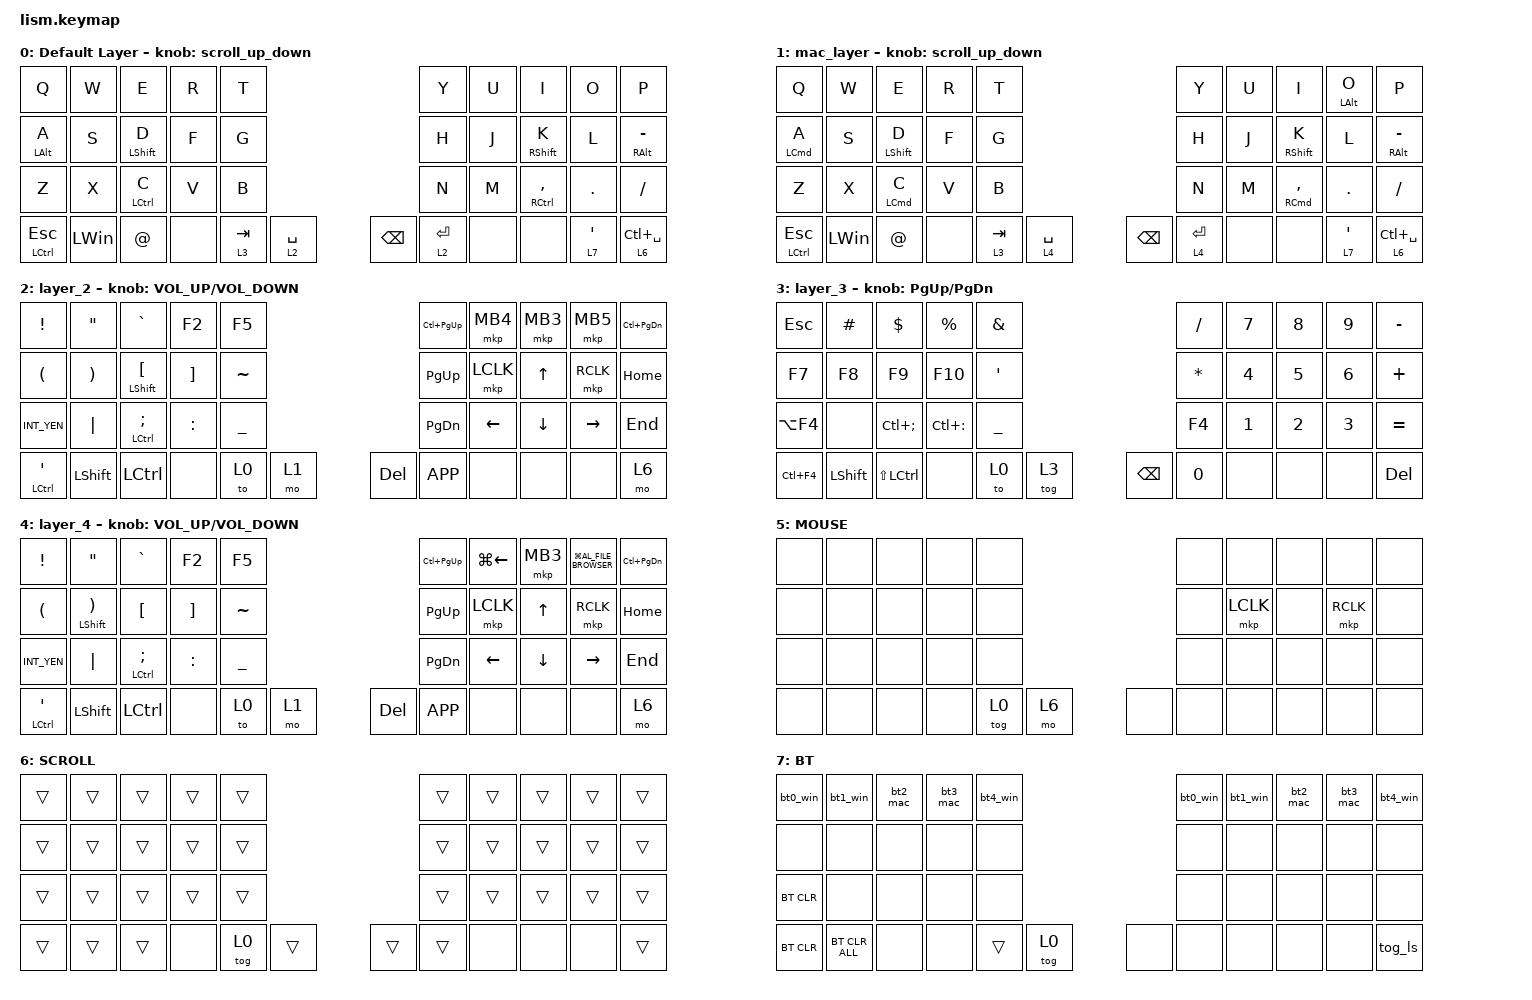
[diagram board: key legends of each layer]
#define ZMK_POINTING_DEFAULT_SCRL_VAL 100

#include <input/processors.dtsi>
#include <dt-bindings/zmk/mouse.h>
#include <behaviors.dtsi>
#include <dt-bindings/zmk/bt.h>
#include <dt-bindings/zmk/keys.h>
#include <dt-bindings/zmk/pointing.h>

#include <layout_shift_kp_override.dtsi>

#include <input/processors/sensor_rotation.dtsi>

#define MOUSE 5
#define SCROLL 6
#define BT 7

// OS設定を日本語キーボードのまま使用するための変換定義

#define JP_DQUOTE       AT                // "
#define JP_AMPERSAND    CARET             // &
#define JP_QUOTE        AMPERSAND         // '
#define JP_EQUAL        UNDER             // =
#define JP_CARET        EQUAL             // ^
#define JP_YEN          0x89              // ¥
#define JP_PLUS         COLON             // +
#define JP_TILDE        PLUS              // ~
#define JP_PIPE         LS(0x89)          // |
#define JP_AT           LEFT_BRACKET      // @
#define JP_COLON        SINGLE_QUOTE      // :
#define JP_ASTERISK     DOUBLE_QUOTES     // *
#define JP_BACKQUOTE    LEFT_BRACE        // `
#define JP_UNDERSCORE   LS(0x87)          // _
#define JP_LBRACKET     RIGHT_BRACKET     // [
#define JP_RBRACKET     BACKSLASH         // ]
#define JP_LPAREN       ASTERISK          // (
#define JP_RPAREN       LEFT_PARENTHESIS  // )
#define JP_LBRACE       RIGHT_BRACE       // {
#define JP_RBRACE       PIPE              // }
#define JP_KANA         LANGUAGE_1        // かな
#define JP_EISU         LANGUAGE_2        // 英数
#define JP_HANZEN       GRAVE             // 半角/全角

&mt {
    flavor = "balanced";
    quick-tap-ms = <0>;
};

&mkp_input_listener { input-processors = <&aml_threshold 5 10000>; };

&lt { quick-tap-ms = <300>; };

&sensor_rotation {
    rotation-angle = <0>;
};

/ {
    macros {
        emoji: emoji_macro {
            compatible = "zmk,behavior-macro";
            label = "EMOJI";
            #binding-cells = <0>;
            bindings =
                <&macro_press>,
                <&kp CAPSLOCK>,
                <&macro_tap>,
                <&kp E>,
                <&macro_release>,
                <&kp CAPSLOCK>;
        };

        to_layer_0: to_layer_0 {
            compatible = "zmk,behavior-macro-one-param";
            #binding-cells = <1>;
            bindings = <&to 0 &macro_param_1to1 &kp MACRO_PLACEHOLDER>;
            label = "TO_LAYER_0";
        };

        exit_AML: exit_AML {
            compatible = "zmk,behavior-macro";
            wait-ms = <0>;
            tap-ms = <0>;
            #binding-cells = <0>;
            bindings = <&tog_off MOUSE>;
            label = "exit_AML";
        };

        kp_exit_AML: kp_exit_AML {
            compatible = "zmk,behavior-macro-one-param";
            wait-ms = <0>;
            tap-ms = <0>;
            #binding-cells = <1>;
            bindings = <&macro_param_1to1 &kp MACRO_PLACEHOLDER &exit_AML>;
            label = "KP_exit_AML";
        };

        bt0_win: bt0_win {
            compatible = "zmk,behavior-macro";
            #binding-cells = <0>;
            bindings =
                <&tog_off 1>,
                <&macro_wait_time 100>,
                <&bt BT_SEL 0>,
                <&macro_wait_time 500>;

            label = "BT0_WN";
        };

        bt1_win: bt1_win {
            compatible = "zmk,behavior-macro";
            #binding-cells = <0>;
            bindings =
                <&tog_off 1>,
                <&macro_wait_time 200>,
                <&bt BT_SEL 1>,
                <&macro_wait_time 500>;

            label = "BT1_WIN";
        };

        bt2_mac: bt2_mac {
            compatible = "zmk,behavior-macro";
            #binding-cells = <0>;
            bindings =
                <&tog_off 1>,
                <&macro_wait_time 200>,
                <&bt BT_SEL 2>,
                <&macro_wait_time 500>,
                <&tog_on 1>;

            label = "BT1";
        };

        bt3_mac: bt3_mac {
            compatible = "zmk,behavior-macro";
            #binding-cells = <0>;
            bindings =
                <&tog_off 1>,
                <&macro_wait_time 200>,
                <&bt BT_SEL 3>,
                <&macro_wait_time 500>,
                <&tog_on 1>;

            label = "BT3_WIN";
        };

        bt4_win: bt4_win {
            compatible = "zmk,behavior-macro";
            #binding-cells = <0>;
            bindings =
                <&tog_off 1>,
                <&macro_wait_time 200>,
                <&bt BT_SEL 4>,
                <&macro_wait_time 500>;

            label = "BT4_WIN";
        };
    };

    behaviors {
        encoder_msc: sensor_rotate_msc {
            compatible = "zmk,behavior-sensor-rotate-var";
            #sensor-binding-cells = <2>;
            bindings = <&msc>, <&msc>;

            tap-ms = <20>;
        };

        encoder_kp: sensor_rotate_kp {
            compatible = "zmk,behavior-sensor-rotate-var";
            #sensor-binding-cells = <2>;
            bindings = <&kp>, <&kp>;
        };

        lt_to_layer_0: lt_to_layer_0 {
            compatible = "zmk,behavior-hold-tap";
            label = "LAYER_TAP_TO_0";
            bindings = <&mo>, <&to_layer_0>;

            #binding-cells = <2>;
            tapping-term-ms = <200>;
        };

        // 新しいスクロール動作

        scroll_up_down: behavior_sensor_rotate_mouse_wheel_up_down {
            compatible = "zmk,behavior-sensor-rotate";
            #sensor-binding-cells = <0>;
            bindings = <&msc SCRL_UP>, <&msc SCRL_DOWN>;

            // 追加: スクロールのタップ時間を設定 (20ms)

            tap-ms = <20>;
        };

        tog_on: toggle_layer_on {
            compatible = "zmk,behavior-toggle-layer";
            #binding-cells = <1>;
            display-name = "Toggle Layer On";
            toggle-mode = "on";
        };

        tog_off: toggle_layer_off {
            compatible = "zmk,behavior-toggle-layer";
            #binding-cells = <1>;
            display-name = "Toggle Layer Off";
            toggle-mode = "off";
        };

        mt_exit_AML_on_tap: mt_exit_AML_on_tap {
            compatible = "zmk,behavior-hold-tap";
            label = "MT_exit_AML_ON_TAP";
            bindings = <&kp>, <&kp_exit_AML>;

            #binding-cells = <2>;
            tapping-term-ms = <200>;
            flavor = "balanced";
            quick-tap-ms = <200>;
        };
    };

    combos {
        compatible = "zmk,combos";

        atmark {
            bindings = <&kp AT>;
            key-positions = <9 8>;
        };
    };

    keymap {
        compatible = "zmk,keymap";

        default_layer {
            display-name = "Default Layer";
            bindings = <
&kp Q                             &kp W         &kp E               &kp R  &kp T                                    &kp Y        &kp U  &kp I                    &kp O               &kp P
&mt LEFT_ALT A                    &kp S         &mt LEFT_SHIFT D    &kp F  &kp G                                    &kp H        &kp J  &mt RIGHT_SHIFT K        &kp L               &mt RIGHT_ALT MINUS
&kp Z                             &kp X         &mt LEFT_CONTROL C  &kp V  &kp B                                    &kp N        &kp M  &mt RIGHT_CONTROL COMMA  &kp DOT             &kp SLASH
&mt_exit_AML_on_tap LCTRL ESCAPE  &kp LEFT_WIN  &kp AT              &none  &lt 3 TAB  &lt 2 SPACE    &kp BACKSPACE  &lt 2 ENTER  &none  &none                    &lt 7 SINGLE_QUOTE  &lt 6 LC(SPACE)
            >;

            sensor-bindings = <&scroll_up_down>;
        };

        mac_layer {
            bindings = <
&kp Q                             &kp W         &kp E               &kp R  &kp T                                    &kp Y        &kp U  &kp I                    &mt LEFT_ALT O      &kp P
&mt LEFT_COMMAND A                &kp S         &mt LEFT_SHIFT D    &kp F  &kp G                                    &kp H        &kp J  &mt RIGHT_SHIFT K        &kp L               &mt RIGHT_ALT MINUS
&kp Z                             &kp X         &mt LEFT_COMMAND C  &kp V  &kp B                                    &kp N        &kp M  &mt RIGHT_COMMAND COMMA  &kp DOT             &kp SLASH
&mt_exit_AML_on_tap LCTRL ESCAPE  &kp LEFT_WIN  &kp AT              &none  &lt 3 TAB  &lt 4 SPACE    &kp BACKSPACE  &lt 4 ENTER  &none  &none                    &lt 7 SINGLE_QUOTE  &lt 6 LC(SPACE)
            >;

            sensor-bindings = <&scroll_up_down>;
        };

        layer_2 {
            bindings = <
&kp EXCL                                       &kp DQT                &kp GRAVE                    &kp F2             &kp F5                               &kp LC(PAGE_UP)  &mkp MB4   &mkp MB3        &mkp MB5   &kp LC(PAGE_DOWN)
&kp LEFT_PARENTHESIS                           &kp RIGHT_PARENTHESIS  &mt LEFT_SHIFT LEFT_BRACKET  &kp RIGHT_BRACKET  &kp TILDE                            &kp PAGE_UP      &mkp LCLK  &kp UP_ARROW    &mkp RCLK  &kp HOME
&kp INT_YEN                                    &kp PIPE               &mt LEFT_CONTROL SEMICOLON   &kp COLON          &kp UNDERSCORE                       &kp PAGE_DOWN    &kp LEFT   &kp DOWN_ARROW  &kp RIGHT  &kp END
&mt_exit_AML_on_tap LEFT_CONTROL SINGLE_QUOTE  &kp LEFT_SHIFT         &kp LEFT_CONTROL             &none              &to 0           &mo 1    &kp DELETE  &kp K_APP        &none      &none           &none      &mo 6
            >;

            sensor-bindings = <&inc_dec_kp C_VOL_UP C_VOLUME_DOWN>;
        };

        layer_3 {
            bindings = <
&kp ESCAPE  &kp HASH        &kp DOLLAR            &kp PERCENT    &kp AMPERSAND                              &kp SLASH     &kp N7        &kp N8        &kp N9        &kp MINUS
&kp F7      &kp F8          &kp F9                &kp F10        &kp SINGLE_QUOTE                           &kp ASTERISK  &kp NUMBER_4  &kp N5        &kp NUMBER_6  &kp PLUS
&kp LA(F4)  &none           &kp LC(SEMICOLON)     &kp LC(COLON)  &kp UNDERSCORE                             &kp F4        &kp NUMBER_1  &kp NUMBER_2  &kp NUMBER_3  &kp EQUAL
&kp LC(F4)  &kp LEFT_SHIFT  &kp LS(LEFT_CONTROL)  &none          &to 0             &tog 3    &kp BACKSPACE  &kp N0        &none         &none         &none         &kp DELETE
            >;

            sensor-bindings = <&inc_dec_kp PAGE_UP PAGE_DOWN>;
        };

        layer_4 {
            bindings = <
&kp EXCL                                       &kp DQT                                           &kp GRAVE                   &kp F2             &kp F5                               &kp LC(PAGE_UP)  &kp LG(LEFT_ARROW)  &mkp MB3        &kp LG(C_AL_FILE_BROWSER)  &kp LC(PAGE_DOWN)
&kp LEFT_PARENTHESIS                           &mt_exit_AML_on_tap LEFT_SHIFT RIGHT_PARENTHESIS  &kp LEFT_BRACKET            &kp RIGHT_BRACKET  &kp TILDE                            &kp PAGE_UP      &mkp LCLK           &kp UP_ARROW    &mkp RCLK                  &kp HOME
&kp INT_YEN                                    &kp PIPE                                          &mt LEFT_CONTROL SEMICOLON  &kp COLON          &kp UNDERSCORE                       &kp PAGE_DOWN    &kp LEFT            &kp DOWN_ARROW  &kp RIGHT                  &kp END
&mt_exit_AML_on_tap LEFT_CONTROL SINGLE_QUOTE  &kp LEFT_SHIFT                                    &kp LEFT_CONTROL            &none              &to 0           &mo 1    &kp DELETE  &kp K_APP        &none               &none           &none                      &mo 6
            >;

            sensor-bindings = <&inc_dec_kp C_VOL_UP C_VOLUME_DOWN>;
        };

        MOUSE {
            bindings = <
&none  &none  &none  &none  &none                   &none  &none      &none  &none      &none
&none  &none  &none  &none  &none                   &none  &mkp LCLK  &none  &mkp RCLK  &none
&none  &none  &none  &none  &none                   &none  &none      &none  &none      &none
&none  &none  &none  &none  &tog 0  &mo 6    &none  &none  &none      &none  &none      &none
            >;
        };

        SCROLL {
            bindings = <
&trans  &trans  &trans  &trans  &trans                    &trans  &trans  &trans  &trans  &trans
&trans  &trans  &trans  &trans  &trans                    &trans  &trans  &trans  &trans  &trans
&trans  &trans  &trans  &trans  &trans                    &trans  &trans  &trans  &trans  &trans
&trans  &trans  &trans  &none   &tog 0  &trans    &trans  &trans  &none   &none   &none   &trans
            >;
        };

        BT {
            bindings = <
&bt0_win    &bt1_win        &bt2_mac  &bt3_mac  &bt4_win                   &bt0_win  &bt1_win  &bt2_mac  &bt3_mac  &bt4_win
&none       &none           &none     &none     &none                      &none     &none     &none     &none     &none
&bt BT_CLR  &none           &none     &none     &none                      &none     &none     &none     &none     &none
&bt BT_CLR  &bt BT_CLR_ALL  &none     &none     &trans    &tog 0    &none  &none     &none     &none     &none     &tog_ls
            >;
        };
    };
};
